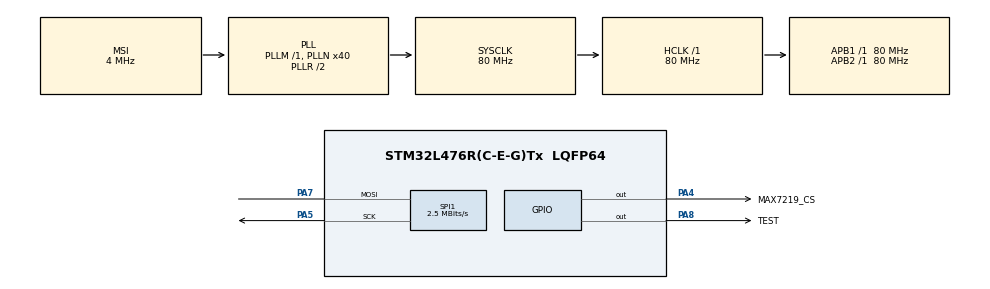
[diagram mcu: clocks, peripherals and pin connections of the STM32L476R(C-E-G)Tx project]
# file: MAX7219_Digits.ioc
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Mcu.Family=STM32L4
Mcu.Name=STM32L476R(C-E-G)Tx
Mcu.Package=LQFP64
NVIC.PriorityGroup=NVIC_PRIORITYGROUP_4
PA4.GPIO_Label=MAX7219_CS
PA4.Signal=GPIO_Output
PA5.Mode=Simplex_Bidirectional_Master
PA5.Signal=SPI1_SCK
PA7.Mode=Simplex_Bidirectional_Master
PA7.Signal=SPI1_MOSI
PA8.GPIO_Label=TEST
PA8.Signal=GPIO_Output
ProjectManager.HeapSize=0x200
ProjectManager.StackSize=0x400
ProjectManager.TargetToolchain=SW4STM32
RCC.AHBFreq_Value=80000000
RCC.APB1Freq_Value=80000000
RCC.APB1TimFreq_Value=80000000
RCC.APB2Freq_Value=80000000
RCC.APB2TimFreq_Value=80000000
RCC.CortexFreq_Value=80000000
RCC.HCLKFreq_Value=80000000
RCC.HSE_VALUE=8000000
RCC.HSI_VALUE=16000000
RCC.LSE_VALUE=32768
RCC.MSI_VALUE=4000000
RCC.PLLN=40
RCC.SYSCLKFreq_VALUE=80000000
RCC.SYSCLKSource=RCC_SYSCLKSOURCE_PLLCLK
RCC.VCOOutputFreq_Value=160000000
SPI1.BaudRatePrescaler=SPI_BAUDRATEPRESCALER_32
SPI1.CalculateBaudRate=2.5 MBits/s
SPI1.DataSize=SPI_DATASIZE_8BIT
SPI1.Direction=SPI_DIRECTION_1LINE
SPI1.Mode=SPI_MODE_MASTER
SPI1.VirtualType=VM_MASTER
board=custom

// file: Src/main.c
/* USER CODE BEGIN Header */
/**
  ******************************************************************************
  * @file           : main.c
  * @brief          : Main program body
  ******************************************************************************
  ** This notice applies to any and all portions of this file
  * that are not between comment pairs USER CODE BEGIN and
  * USER CODE END. Other portions of this file, whether
  * inserted by the user or by software development tools
  * are owned by their respective copyright owners.
  *
  * COPYRIGHT(c) 2019 STMicroelectronics
  *
  * Redistribution and use in source and binary forms, with or without modification,
  * are permitted provided that the following conditions are met:
  *   1. Redistributions of source code must retain the above copyright notice,
  *      this list of conditions and the following disclaimer.
  *   2. Redistributions in binary form must reproduce the above copyright notice,
  *      this list of conditions and the following disclaimer in the documentation
  *      and/or other materials provided with the distribution.
  *   3. Neither the name of STMicroelectronics nor the names of its contributors
  *      may be used to endorse or promote products derived from this software
  *      without specific prior written permission.
  *
  * THIS SOFTWARE IS PROVIDED BY THE COPYRIGHT HOLDERS AND CONTRIBUTORS "AS IS"
  * AND ANY EXPRESS OR IMPLIED WARRANTIES, INCLUDING, BUT NOT LIMITED TO, THE
  * IMPLIED WARRANTIES OF MERCHANTABILITY AND FITNESS FOR A PARTICULAR PURPOSE ARE
  * DISCLAIMED. IN NO EVENT SHALL THE COPYRIGHT HOLDER OR CONTRIBUTORS BE LIABLE
  * FOR ANY DIRECT, INDIRECT, INCIDENTAL, SPECIAL, EXEMPLARY, OR CONSEQUENTIAL
  * DAMAGES (INCLUDING, BUT NOT LIMITED TO, PROCUREMENT OF SUBSTITUTE GOODS OR
  * SERVICES; LOSS OF USE, DATA, OR PROFITS; OR BUSINESS INTERRUPTION) HOWEVER
  * CAUSED AND ON ANY THEORY OF LIABILITY, WHETHER IN CONTRACT, STRICT LIABILITY,
  * OR TORT (INCLUDING NEGLIGENCE OR OTHERWISE) ARISING IN ANY WAY OUT OF THE USE
  * OF THIS SOFTWARE, EVEN IF ADVISED OF THE POSSIBILITY OF SUCH DAMAGE.
  *
  ******************************************************************************
  *
  *  The MIT License.
  *  Created on: 01.02.2019
  *		Author: Mateusz Salamon
  *		www.msalamon.pl
  *		mateusz@msalamon.pl
  *
  *      Website: https://msalamon.pl/nigdy-wiecej-multipleksowania-na-gpio!-max7219-w-akcji-cz-1/
  *      GitHub:  https://github.com/lamik/MAX7219_digits_STM32_HAL
  */

/* USER CODE END Header */

#include "main.h"
#include "spi.h"
#include "gpio.h"

/* USER CODE BEGIN Includes */
#include <stdio.h>
#include "max7219_digits.h"
/* USER CODE END Includes */

/* USER CODE BEGIN PD */
//#define MEASUREMENT_TEST
/* USER CODE END PD */

void SystemClock_Config(void);

int main(void)
{

  /* MCU Configuration--------------------------------------------------------*/

  /* Reset of all peripherals, Initializes the Flash interface and the Systick. */
  HAL_Init();

  /* Configure the system clock */
  SystemClock_Config();

  /* Initialize all configured peripherals */
  MX_GPIO_Init();
  MX_SPI1_Init();
  /* USER CODE BEGIN 2 */
  MAX7219_Init(&hspi1);
  HAL_Delay(1000);
#ifndef MEASUREMENT_TEST
//  MAX7219_PutStringRightAdjust("12.3*C");
//  MAX7219_PutStringLeftAdjust("12.3*C");
//  MAX7219_PutStringCenterAdjust("12.3*C");
//  MAX7219_PutString(4, "12.3*C");
#endif
  int i = 0;
  /* USER CODE END 2 */

  /* Infinite loop */
  /* USER CODE BEGIN WHILE */
  while (1)
  {
#ifndef MEASUREMENT_TEST

	  for(i = -8; i < 22; i++)
	  {
		  MAX7219_ClearAll();
		  MAX7219_PutString(i, "21.3*C");
		  HAL_Delay(200);
	  }

	  for(i = 22; i > -8; i--)
	  {
		  MAX7219_ClearAll();
		  MAX7219_PutString(i, "21.3*C");
		  HAL_Delay(200);
	  }
#else
	  HAL_GPIO_WritePin(TEST_GPIO_Port, TEST_Pin, GPIO_PIN_SET);
	  MAX7219_PutString(1, "1.05.2019  24.6*C");
	  HAL_GPIO_WritePin(TEST_GPIO_Port, TEST_Pin, GPIO_PIN_RESET);
	  HAL_Delay(50);
#endif

    /* USER CODE END WHILE */

  }
}

void SystemClock_Config(void)
{
  RCC_OscInitTypeDef RCC_OscInitStruct = {0};
  RCC_ClkInitTypeDef RCC_ClkInitStruct = {0};

  /**Initializes the CPU, AHB and APB busses clocks
  */
  RCC_OscInitStruct.OscillatorType = RCC_OSCILLATORTYPE_MSI;
  RCC_OscInitStruct.MSIState = RCC_MSI_ON;
  RCC_OscInitStruct.MSICalibrationValue = 0;
  RCC_OscInitStruct.MSIClockRange = RCC_MSIRANGE_6;
  RCC_OscInitStruct.PLL.PLLState = RCC_PLL_ON;
  RCC_OscInitStruct.PLL.PLLSource = RCC_PLLSOURCE_MSI;
  RCC_OscInitStruct.PLL.PLLM = 1;
  RCC_OscInitStruct.PLL.PLLN = 40;
  RCC_OscInitStruct.PLL.PLLP = RCC_PLLP_DIV7;
  RCC_OscInitStruct.PLL.PLLQ = RCC_PLLQ_DIV2;
  RCC_OscInitStruct.PLL.PLLR = RCC_PLLR_DIV2;
  if (HAL_RCC_OscConfig(&RCC_OscInitStruct) != HAL_OK)
  {
    Error_Handler();
  }
  /**Initializes the CPU, AHB and APB busses clocks
  */
  RCC_ClkInitStruct.ClockType = RCC_CLOCKTYPE_HCLK|RCC_CLOCKTYPE_SYSCLK
                              |RCC_CLOCKTYPE_PCLK1|RCC_CLOCKTYPE_PCLK2;
  RCC_ClkInitStruct.SYSCLKSource = RCC_SYSCLKSOURCE_PLLCLK;
  RCC_ClkInitStruct.AHBCLKDivider = RCC_SYSCLK_DIV1;
  RCC_ClkInitStruct.APB1CLKDivider = RCC_HCLK_DIV1;
  RCC_ClkInitStruct.APB2CLKDivider = RCC_HCLK_DIV1;

  if (HAL_RCC_ClockConfig(&RCC_ClkInitStruct, FLASH_LATENCY_4) != HAL_OK)
  {
    Error_Handler();
  }
  /**Configure the main internal regulator output voltage
  */
  if (HAL_PWREx_ControlVoltageScaling(PWR_REGULATOR_VOLTAGE_SCALE1) != HAL_OK)
  {
    Error_Handler();
  }
}

void Error_Handler(void)
{
}

/************************ (C) COPYRIGHT STMicroelectronics *****END OF FILE****/
